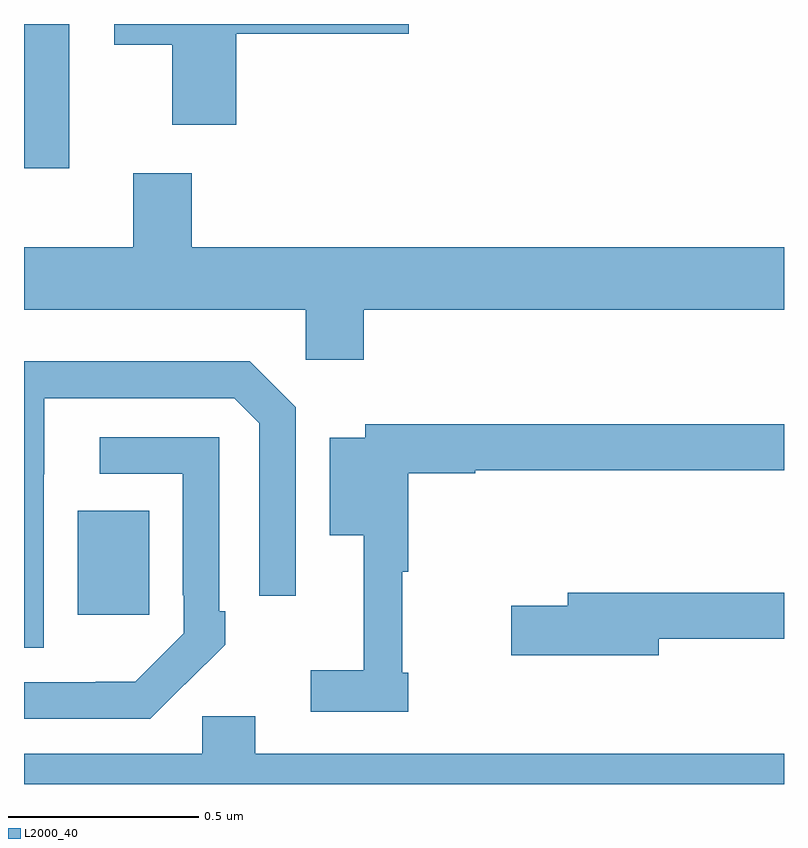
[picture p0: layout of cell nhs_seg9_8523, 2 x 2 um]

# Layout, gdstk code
import gdstk
lib = gdstk.Library(unit=1e-6, precision=1e-09)
def R(c, l, rs):  # rectangles x0, y0, x1, y1
    for r in rs: c.add(gdstk.rectangle(r[:2], r[2:], *l))
def P(c, l, *ps):  # polygons
    for p in ps: c.add(gdstk.Polygon(p, *l))
L2000_40 = (2000, 40)

nhs_seg9_8523 = lib.new_cell('nhs_seg9_8523')
R(nhs_seg9_8523, L2000_40, [(218.141,1200.945,218.329,1201.219), (218,1202.121,218.119,1202.5)])
P(nhs_seg9_8523, L2000_40, [(218.558,1202.474),(219.013,1202.474),(219.013,1202.5),(218.238,1202.5),(218.238,1202.446),(218.39,1202.446),(218.39,1202.235),(218.558,1202.235)],
  [(218.894,1201.748),(220,1201.748),(220,1201.912),(218.441,1201.912),(218.441,1202.107),(218.288,1202.107),(218.288,1201.912),(218,1201.912),(218,1201.748),(218.742,1201.748),(218.742,1201.617),(218.894,1201.617)],
  [(218.052,1201.315),(218.053,1201.315),(218.053,1201.515),(218.553,1201.515),(218.619,1201.449),(218.619,1200.996),(218.715,1200.996),(218.715,1201.491),(218.594,1201.612),(218,1201.612),(218,1200.858),(218.052,1200.858)],
  [(219.011,1200.793),(218.996,1200.793),(218.996,1201.058),(219.011,1201.058),(219.011,1201.318),(219.188,1201.318),(219.188,1201.326),(220,1201.326),(220,1201.447),(218.898,1201.447),(218.898,1201.411),(218.804,1201.411),(218.804,1201.154),(218.894,1201.154),(218.894,1200.799),(218.754,1200.799),(218.754,1200.69),(219.011,1200.69)],
  [(218.423,1200.763),(218.424,1200.762),(218.529,1200.867),(218.529,1200.955),(218.514,1200.955),(218.514,1201.413),(218.199,1201.413),(218.199,1201.317),(218.418,1201.317),(218.418,1200.997),(218.421,1200.997),(218.421,1200.897),(218.293,1200.769),(218.189,1200.769),(218.189,1200.768),(218,1200.768),(218,1200.672),(218.332,1200.672)],
  [(219.67,1200.882),(220,1200.882),(220,1201.003),(219.431,1201.003),(219.431,1200.969),(219.282,1200.969),(219.282,1200.839),(219.67,1200.839)],
  [(220,1200.58),(218.608,1200.58),(218.608,1200.678),(218.469,1200.678),(218.469,1200.58),(218,1200.58),(218,1200.5),(220,1200.5)])

lib.write_gds('nhs_seg9_8523.gds')
